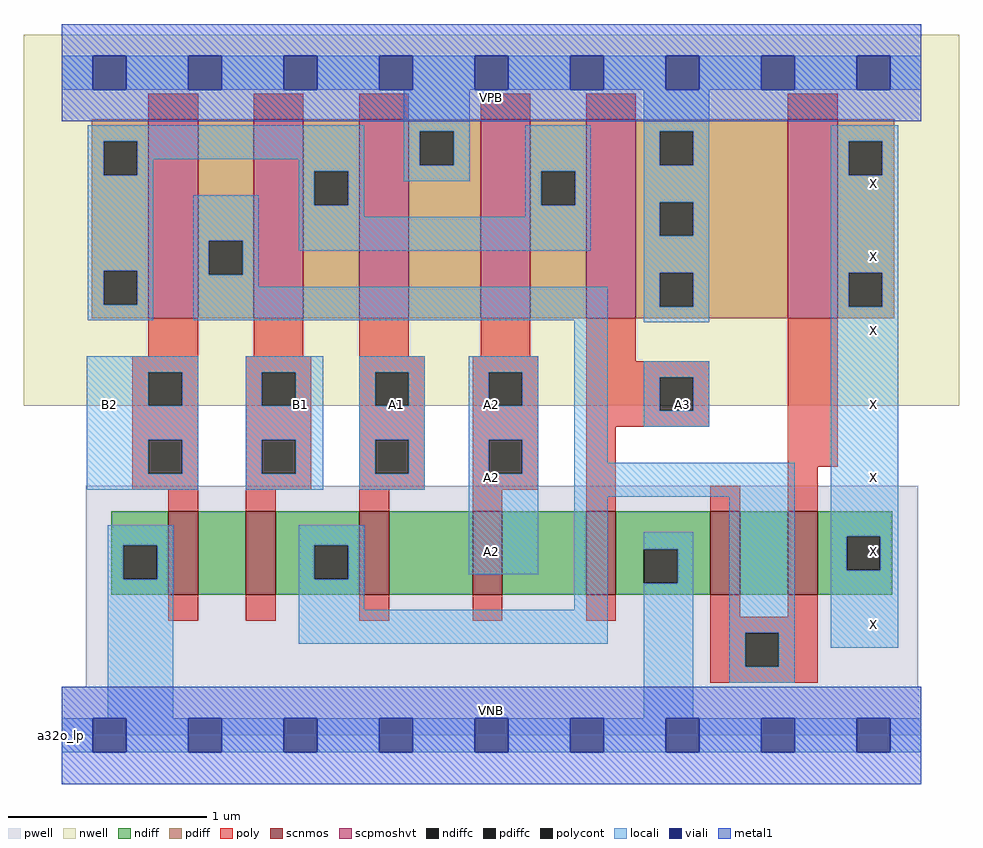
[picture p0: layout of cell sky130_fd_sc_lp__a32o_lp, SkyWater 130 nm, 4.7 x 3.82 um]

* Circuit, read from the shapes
.subckt sky130_fd_sc_lp__a32o_lp A1 A2 A3 B1 B2 VGND VNB VPB VPWR X
XM1 n1 B2 VGND VNB sky130_fd_pr__nfet_01v8 w=0.42 l=0.15
XM2 n2 B1 n1 VNB sky130_fd_pr__nfet_01v8 w=0.42 l=0.15
XM3 n3 A1 n2 VNB sky130_fd_pr__nfet_01v8 w=0.42 l=0.15
XM4 n4 A2 n3 VNB sky130_fd_pr__nfet_01v8 w=0.42 l=0.15
XM5 VGND A3 n4 VNB sky130_fd_pr__nfet_01v8 w=0.42 l=0.15
XM6 n5 n2 VGND VNB sky130_fd_pr__nfet_01v8 w=0.42 l=0.15
XM7 X n2 n5 VNB sky130_fd_pr__nfet_01v8 w=0.42 l=0.15
XM8 n2 B2 n6 VPB sky130_fd_pr__pfet_01v8_hvt w=1 l=0.25
XM9 n6 B1 n2 VPB sky130_fd_pr__pfet_01v8_hvt w=1 l=0.25
XM10 VPWR A1 n6 VPB sky130_fd_pr__pfet_01v8_hvt w=1 l=0.25
XM11 n6 A2 VPWR VPB sky130_fd_pr__pfet_01v8_hvt w=1 l=0.25
XM12 VPWR A3 n6 VPB sky130_fd_pr__pfet_01v8_hvt w=1 l=0.25
XM13 X n2 VPWR VPB sky130_fd_pr__pfet_01v8_hvt w=1 l=0.25
.ends

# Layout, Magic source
magic
tech sky130A
magscale 1 2
<< nwell >>
rect -38 331 902 704
<< pwell >>
rect 24 49 861 251
rect 0 0 864 49
<< scnmos >>
rect 107 141 137 225
rect 185 141 215 225
rect 299 141 329 225
rect 413 141 443 225
rect 527 141 557 225
rect 652 141 682 225
rect 730 141 760 225
<< scpmoshvt >>
rect 87 419 137 619
rect 193 419 243 619
rect 299 419 349 619
rect 421 419 471 619
rect 527 419 577 619
rect 730 419 780 619
<< ndiff >>
rect 50 191 107 225
rect 50 157 62 191
rect 96 157 107 191
rect 50 141 107 157
rect 137 141 185 225
rect 215 191 299 225
rect 215 157 254 191
rect 288 157 299 191
rect 215 141 299 157
rect 329 141 413 225
rect 443 141 527 225
rect 557 187 652 225
rect 557 153 585 187
rect 619 153 652 187
rect 557 141 652 153
rect 682 141 730 225
rect 760 200 835 225
rect 760 166 789 200
rect 823 166 835 200
rect 760 141 835 166
<< pdiff >>
rect 30 597 87 619
rect 30 563 42 597
rect 76 563 87 597
rect 30 467 87 563
rect 30 433 42 467
rect 76 433 87 467
rect 30 419 87 433
rect 137 497 193 619
rect 137 463 148 497
rect 182 463 193 497
rect 137 419 193 463
rect 243 567 299 619
rect 243 533 254 567
rect 288 533 299 567
rect 243 419 299 533
rect 349 607 421 619
rect 349 573 360 607
rect 394 573 421 607
rect 349 419 421 573
rect 471 567 527 619
rect 471 533 482 567
rect 516 533 527 567
rect 471 419 527 533
rect 577 607 730 619
rect 577 573 601 607
rect 635 573 730 607
rect 577 536 730 573
rect 577 502 601 536
rect 635 502 730 536
rect 577 465 730 502
rect 577 431 601 465
rect 635 431 730 465
rect 577 419 730 431
rect 780 597 837 619
rect 780 563 791 597
rect 825 563 837 597
rect 780 465 837 563
rect 780 431 791 465
rect 825 431 837 465
rect 780 419 837 431
<< ndiffc >>
rect 62 157 96 191
rect 254 157 288 191
rect 585 153 619 187
rect 789 166 823 200
<< pdiffc >>
rect 42 563 76 597
rect 42 433 76 467
rect 148 463 182 497
rect 254 533 288 567
rect 360 573 394 607
rect 482 533 516 567
rect 601 573 635 607
rect 601 502 635 536
rect 601 431 635 465
rect 791 563 825 597
rect 791 431 825 465
<< poly >>
rect 87 619 137 645
rect 193 619 243 645
rect 299 619 349 645
rect 421 619 471 645
rect 527 619 577 645
rect 730 619 780 645
rect 87 381 137 419
rect 193 381 243 419
rect 299 381 349 419
rect 421 381 471 419
rect 71 365 137 381
rect 71 331 87 365
rect 121 331 137 365
rect 71 297 137 331
rect 71 263 87 297
rect 121 263 137 297
rect 71 247 137 263
rect 107 225 137 247
rect 185 365 251 381
rect 185 331 201 365
rect 235 331 251 365
rect 185 297 251 331
rect 185 263 201 297
rect 235 263 251 297
rect 185 247 251 263
rect 299 365 365 381
rect 299 331 315 365
rect 349 331 365 365
rect 299 297 365 331
rect 299 263 315 297
rect 349 263 365 297
rect 299 247 365 263
rect 413 365 479 381
rect 413 331 429 365
rect 463 331 479 365
rect 413 297 479 331
rect 413 263 429 297
rect 463 263 479 297
rect 413 247 479 263
rect 527 376 577 419
rect 527 360 651 376
rect 527 326 601 360
rect 635 326 651 360
rect 527 310 651 326
rect 185 225 215 247
rect 299 225 329 247
rect 413 225 443 247
rect 527 225 557 310
rect 730 270 780 419
rect 652 225 682 251
rect 730 225 760 270
rect 107 115 137 141
rect 185 115 215 141
rect 299 115 329 141
rect 413 115 443 141
rect 527 115 557 141
rect 652 119 682 141
rect 730 119 760 141
rect 652 103 760 119
rect 652 69 687 103
rect 721 69 760 103
rect 652 53 760 69
<< polycont >>
rect 87 331 121 365
rect 87 263 121 297
rect 201 331 235 365
rect 201 263 235 297
rect 315 331 349 365
rect 315 263 349 297
rect 429 331 463 365
rect 429 263 463 297
rect 601 326 635 360
rect 687 69 721 103
<< locali >>
rect 0 649 31 683
rect 65 649 127 683
rect 161 649 223 683
rect 257 649 319 683
rect 353 649 415 683
rect 449 649 511 683
rect 545 649 607 683
rect 641 649 703 683
rect 737 649 799 683
rect 833 649 864 683
rect 26 597 304 613
rect 26 563 42 597
rect 76 579 304 597
rect 76 563 92 579
rect 26 467 92 563
rect 238 567 304 579
rect 26 433 42 467
rect 76 433 92 467
rect 26 417 92 433
rect 132 497 198 543
rect 132 463 148 497
rect 182 463 198 497
rect 238 533 254 567
rect 288 533 304 567
rect 344 607 410 649
rect 344 573 360 607
rect 394 573 410 607
rect 344 557 410 573
rect 466 567 532 613
rect 238 521 304 533
rect 466 533 482 567
rect 516 533 532 567
rect 466 521 532 533
rect 238 487 532 521
rect 585 607 651 649
rect 585 573 601 607
rect 635 573 651 607
rect 585 536 651 573
rect 585 502 601 536
rect 635 502 651 536
rect 132 451 198 463
rect 585 465 651 502
rect 132 417 549 451
rect 25 365 137 381
rect 25 331 87 365
rect 121 331 137 365
rect 25 297 137 331
rect 25 263 87 297
rect 121 263 137 297
rect 25 247 137 263
rect 185 365 263 381
rect 185 331 201 365
rect 235 331 263 365
rect 185 297 263 331
rect 185 263 201 297
rect 235 263 263 297
rect 185 247 263 263
rect 299 365 365 381
rect 299 331 315 365
rect 349 331 365 365
rect 299 297 365 331
rect 299 263 315 297
rect 349 263 365 297
rect 299 247 365 263
rect 409 365 479 381
rect 409 331 429 365
rect 463 331 479 365
rect 409 297 479 331
rect 409 263 429 297
rect 463 263 479 297
rect 46 191 112 211
rect 46 157 62 191
rect 96 157 112 191
rect 46 17 112 157
rect 238 191 304 211
rect 238 157 254 191
rect 288 157 304 191
rect 409 162 479 263
rect 515 274 549 417
rect 585 431 601 465
rect 635 431 651 465
rect 585 415 651 431
rect 773 597 841 613
rect 773 563 791 597
rect 825 563 841 597
rect 773 465 841 563
rect 773 431 791 465
rect 825 431 841 465
rect 585 360 651 376
rect 585 326 601 360
rect 635 326 651 360
rect 585 310 651 326
rect 515 240 737 274
rect 238 126 304 157
rect 515 126 549 240
rect 238 92 549 126
rect 585 187 635 204
rect 619 153 635 187
rect 585 17 635 153
rect 671 103 737 240
rect 671 69 687 103
rect 721 69 737 103
rect 773 200 841 431
rect 773 166 789 200
rect 823 166 841 200
rect 773 88 841 166
rect 671 53 737 69
rect 0 -17 31 17
rect 65 -17 127 17
rect 161 -17 223 17
rect 257 -17 319 17
rect 353 -17 415 17
rect 449 -17 511 17
rect 545 -17 607 17
rect 641 -17 703 17
rect 737 -17 799 17
rect 833 -17 864 17
<< viali >>
rect 31 649 65 683
rect 127 649 161 683
rect 223 649 257 683
rect 319 649 353 683
rect 415 649 449 683
rect 511 649 545 683
rect 607 649 641 683
rect 703 649 737 683
rect 799 649 833 683
rect 31 -17 65 17
rect 127 -17 161 17
rect 223 -17 257 17
rect 319 -17 353 17
rect 415 -17 449 17
rect 511 -17 545 17
rect 607 -17 641 17
rect 703 -17 737 17
rect 799 -17 833 17
<< metal1 >>
rect 0 683 864 715
rect 0 649 31 683
rect 65 649 127 683
rect 161 649 223 683
rect 257 649 319 683
rect 353 649 415 683
rect 449 649 511 683
rect 545 649 607 683
rect 641 649 703 683
rect 737 649 799 683
rect 833 649 864 683
rect 0 617 864 649
rect 0 17 864 49
rect 0 -17 31 17
rect 65 -17 127 17
rect 161 -17 223 17
rect 257 -17 319 17
rect 353 -17 415 17
rect 449 -17 511 17
rect 545 -17 607 17
rect 641 -17 703 17
rect 737 -17 799 17
rect 833 -17 864 17
rect 0 -49 864 -17
<< labels >>
flabel pwell s 0 0 864 49 0 FreeSans 200 0 0 0 VNB
port 7 nsew ground bidirectional
flabel nwell s 0 617 864 666 0 FreeSans 200 0 0 0 VPB
port 8 nsew power bidirectional
rlabel comment s 0 0 0 0 4 a32o_lp
flabel metal1 s 0 617 864 666 0 FreeSans 340 0 0 0 VPWR
port 9 nsew power bidirectional
flabel metal1 s 0 0 864 49 0 FreeSans 340 0 0 0 VGND
port 6 nsew ground bidirectional
flabel locali s 31 316 65 350 0 FreeSans 340 0 0 0 B2
port 5 nsew signal input
flabel locali s 223 316 257 350 0 FreeSans 340 0 0 0 B1
port 4 nsew signal input
flabel locali s 607 316 641 350 0 FreeSans 340 0 0 0 A3
port 3 nsew signal input
flabel locali s 415 168 449 202 0 FreeSans 340 0 0 0 A2
port 2 nsew signal input
flabel locali s 415 242 449 276 0 FreeSans 340 0 0 0 A2
port 2 nsew signal input
flabel locali s 415 316 449 350 0 FreeSans 340 0 0 0 A2
port 2 nsew signal input
flabel locali s 319 316 353 350 0 FreeSans 340 0 0 0 A1
port 1 nsew signal input
flabel locali s 799 94 833 128 0 FreeSans 340 0 0 0 X
port 10 nsew signal output
flabel locali s 799 168 833 202 0 FreeSans 340 0 0 0 X
port 10 nsew signal output
flabel locali s 799 242 833 276 0 FreeSans 340 0 0 0 X
port 10 nsew signal output
flabel locali s 799 316 833 350 0 FreeSans 340 0 0 0 X
port 10 nsew signal output
flabel locali s 799 390 833 424 0 FreeSans 340 0 0 0 X
port 10 nsew signal output
flabel locali s 799 464 833 498 0 FreeSans 340 0 0 0 X
port 10 nsew signal output
flabel locali s 799 538 833 572 0 FreeSans 340 0 0 0 X
port 10 nsew signal output
<< properties >>
string LEFsite unit
string LEFclass CORE
string FIXED_BBOX 0 0 864 666
string GDS_FILE $PDKPATH/libs.ref/sky130_fd_sc_lp/gds/sky130_fd_sc_lp.gds
string LEFsymmetry X Y R90
string GDS_END 2058004
string GDS_START 2050418
<< end >>
